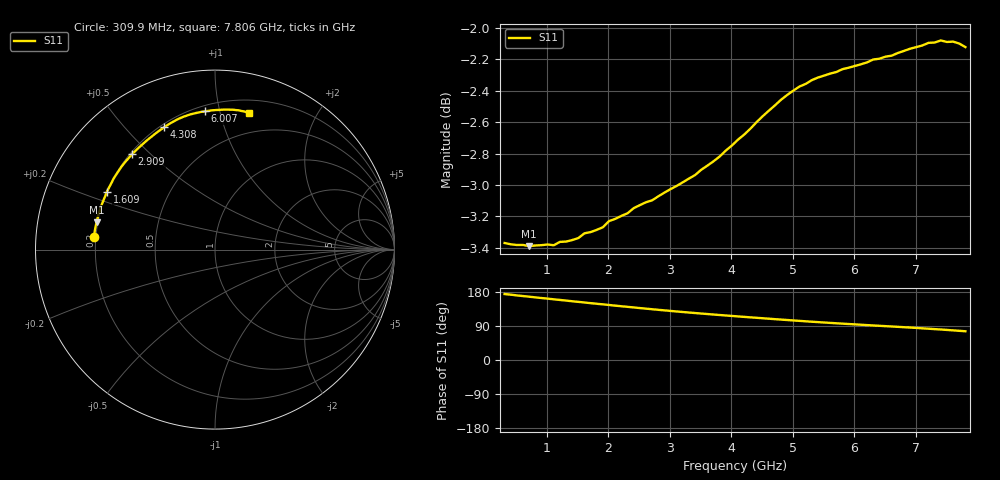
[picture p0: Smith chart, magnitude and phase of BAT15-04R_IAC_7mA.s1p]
! Infineon Technologies  Discrete & RF Semiconductors
! BAT15-04R
! IAC = 7 mA
! One-Port S-Parameters
# Hz  S  MA  R  50
!f  S11
!Hz  Mag  Ang
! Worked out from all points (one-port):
!   76 points, 309.9 MHz to 7.806 GHz, reference 50 ohm
!   lowest |S11| = -3.4 dB at 709.6 MHz (marker M1), VSWR 5.19, Z = 9.75 + j5.49 ohm
!   |S11| at or under -10 dB: nowhere
!   S11 on the Smith chart (normalised r, x): 309.9 MHz: 0.19, +0.05; 1.609 GHz: 0.20, +0.24; 2.909 GHz: 0.21, +0.44; 4.308 GHz: 0.22, +0.65; 6.007 GHz: 0.24, +0.90; 7.806 GHz: 0.31, +1.23
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3.0985e8  0.6785 174.1
6.097e8  0.6775 168.7
7.0965e8  0.6769 167.0
1.0095e9  0.6778 161.9
1.2094e9  0.6791 158.5
1.30935e9  0.6792 156.8
1.6092e9  0.6834 151.8
2.009e9  0.6895 145.2
2.2089e9  0.6921 141.8
2.4088e9  0.696 138.7
2.6087e9  0.6991 135.5
2.90855e9  0.704 131.0
3.2084e9  0.7094 126.6
3.50825e9  0.7159 122.6
4.10795e9  0.732 115.0
4.30785e9  0.7378 112.5
4.4078e9  0.7413 111.4
4.70765e9  0.7506 107.8
5.0075e9  0.7588 104.3
5.4073e9  0.7661 100.0
5.8071e9  0.7708 95.9
6.007e9  0.7726 94.0
6.30685e9  0.7762 91.2
6.90655e9  0.7824 85.6
7.2064e9  0.7858 82.6
7.4063e9  0.7872 80.5
7.6062e9  0.7865 78.2
7.8061e9  0.7833 75.9
